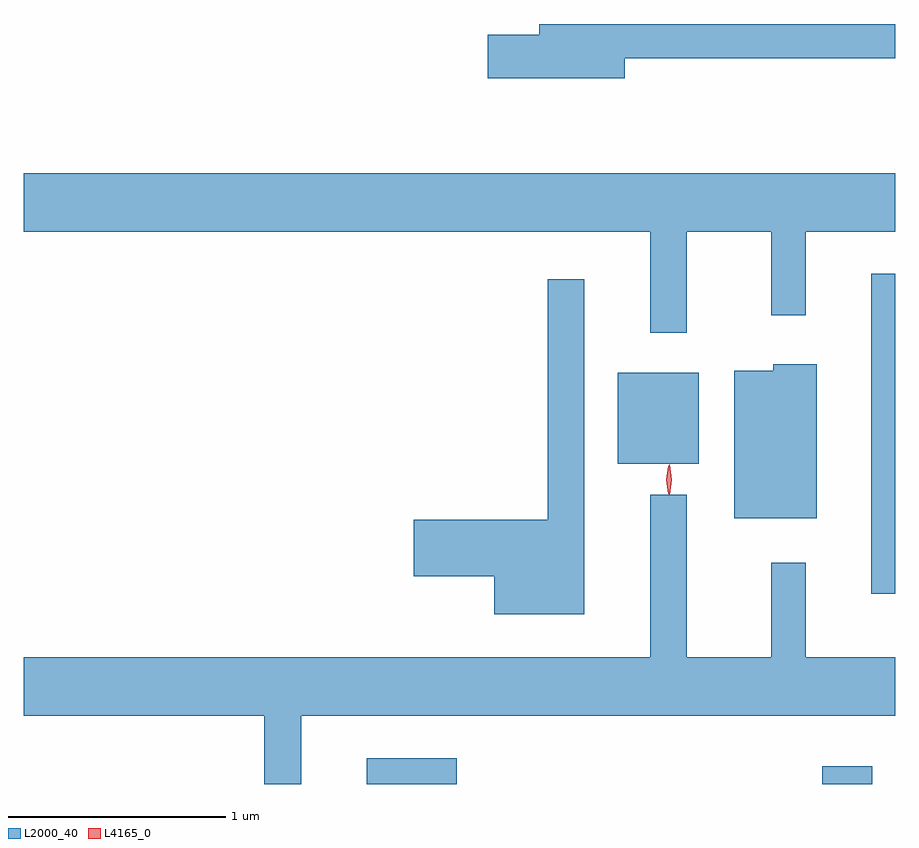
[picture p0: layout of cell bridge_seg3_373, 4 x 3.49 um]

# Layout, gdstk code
import gdstk
lib = gdstk.Library(unit=1e-6, precision=1e-09)
def R(c, l, rs):  # rectangles x0, y0, x1, y1
    for r in rs: c.add(gdstk.rectangle(r[:2], r[2:], *l))
def P(c, l, *ps):  # polygons
    for p in ps: c.add(gdstk.Polygon(p, *l))
L2000_40 = (2000, 40)
L4165_0 = (4165, 0)

bridge_seg3_373 = lib.new_cell('bridge_seg3_373')
R(bridge_seg3_373, L2000_40, [(563.251,1212.282,563.664,1212.399), (565.341,1212.282,565.569,1212.364), (565.566,1213.156,565.676,1214.623), (564.401,1213.751,564.774,1214.169)])
P(bridge_seg3_373, L2000_40, [(564.434,1215.611),(565.676,1215.611),(565.676,1215.769),(564.041,1215.769),(564.041,1215.719),(563.806,1215.719),(563.806,1215.521),(564.434,1215.521)],
  [(564.719,1214.816),(565.106,1214.816),(565.106,1214.433),(565.264,1214.433),(565.264,1214.816),(565.676,1214.816),(565.676,1215.084),(561.676,1215.084),(561.676,1214.816),(564.551,1214.816),(564.551,1214.353),(564.719,1214.353)],
  [(564.249,1214.598),(564.081,1214.598),(564.081,1213.494),(563.466,1213.494),(563.466,1213.236),(563.836,1213.236),(563.836,1213.061),(564.249,1213.061)],
  [(565.314,1214.209),(565.116,1214.209),(565.116,1214.179),(564.936,1214.179),(564.936,1213.501),(565.314,1213.501)],
  [(562.949,1212.596),(565.676,1212.596),(565.676,1212.864),(565.264,1212.864),(565.264,1213.298),(565.106,1213.298),(565.106,1212.864),(564.719,1212.864),(564.719,1213.608),(564.551,1213.608),(564.551,1212.864),(561.676,1212.864),(561.676,1212.596),(562.781,1212.596),(562.781,1212.282),(562.949,1212.282)])
P(bridge_seg3_373, L4165_0, [(564.634,1213.613),(564.634,1213.613),(564.624,1213.677),(564.634,1213.741),(564.634,1213.742),(564.635,1213.741),(564.644,1213.677),(564.635,1213.613)],
  [(564.639,1213.61),(564.63,1213.678),(564.639,1213.746),(564.64,1213.746),(564.64,1213.746),(564.65,1213.678),(564.64,1213.61),(564.64,1213.61)])

lib.write_gds('bridge_seg3_373.gds')
